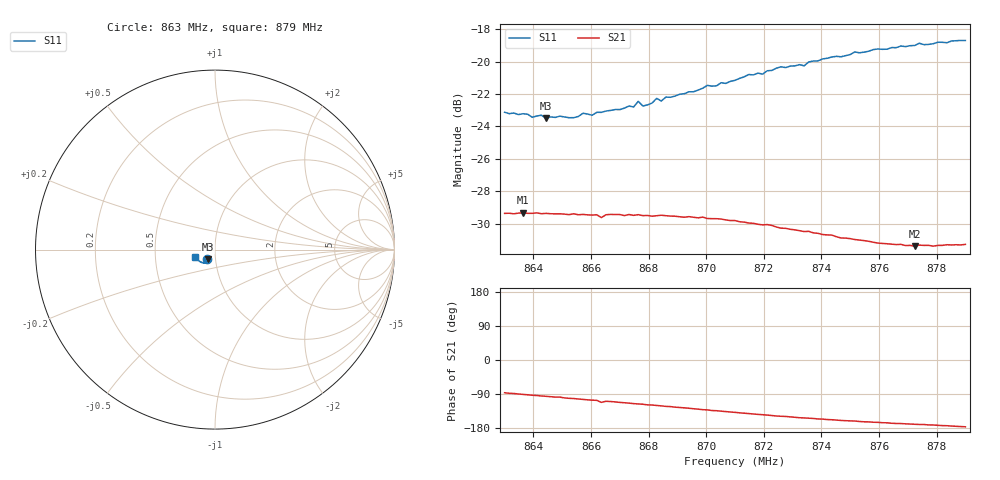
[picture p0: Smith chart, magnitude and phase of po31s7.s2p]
# HZ S RI R 50
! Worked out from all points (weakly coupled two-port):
!   101 points, 863 MHz to 879 MHz, reference 50 ohm
!   highest |S21| = -29.33 dB at 863.64 MHz (marker M1); lowest = -31.4 dB at 877.24 MHz (marker M2)
!   lowest |S11| = -23.5 dB at 864.44 MHz (marker M3), VSWR 1.14, Z = 46 - j5.06 ohm
!   |S11| at or under -10 dB: start of sweep to end of sweep
!   S12 and S22 are empty: the file has one direction only
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8.63e8  -0.0437 -0.0544  0.00211 -0.034  0 0  0 0
8.6364e8  -0.0415 -0.0552  -0.000473 -0.0342  0 0  0 0
8.6444e8  -0.0383 -0.0547  -0.00345 -0.0338  0 0  0 0
8.654e8  -0.0351 -0.0572  -0.00687 -0.0332  0 0  0 0
8.6572e8  -0.0362 -0.059  -0.00817 -0.0328  0 0  0 0
8.6604e8  -0.0347 -0.0588  -0.00927 -0.0323  0 0  0 0
8.6636e8  -0.0363 -0.0595  -0.0123 -0.0307  0 0  0 0
8.6668e8  -0.0356 -0.0611  -0.0113 -0.0318  0 0  0 0
8.6748e8  -0.0356 -0.0631  -0.0143 -0.0304  0 0  0 0
8.6764e8  -0.0382 -0.065  -0.0147 -0.0303  0 0  0 0
8.678e8  -0.0361 -0.0634  -0.0151 -0.0299  0 0  0 0
8.6828e8  -0.0378 -0.0671  -0.0167 -0.029  0 0  0 0
8.6844e8  -0.0374 -0.0657  -0.0173 -0.0288  0 0  0 0
8.686e8  -0.0382 -0.0677  -0.0179 -0.0283  0 0  0 0
8.7004e8  -0.0447 -0.0716  -0.0218 -0.0245  0 0  0 0
8.71e8  -0.0491 -0.0725  -0.0241 -0.0216  0 0  0 0
8.726e8  -0.0603 -0.0752  -0.0261 -0.016  0 0  0 0
8.734e8  -0.0641 -0.0729  -0.0266 -0.0136  0 0  0 0
8.7372e8  -0.0688 -0.0732  -0.0267 -0.0129  0 0  0 0
8.7644e8  -0.0919 -0.0613  -0.0266 -0.00618  0 0  0 0
8.7724e8  -0.0974 -0.0555  -0.0265 -0.00486  0 0  0 0
8.79e8  -0.1095 -0.039  -0.0272 -0.00179  0 0  0 0
